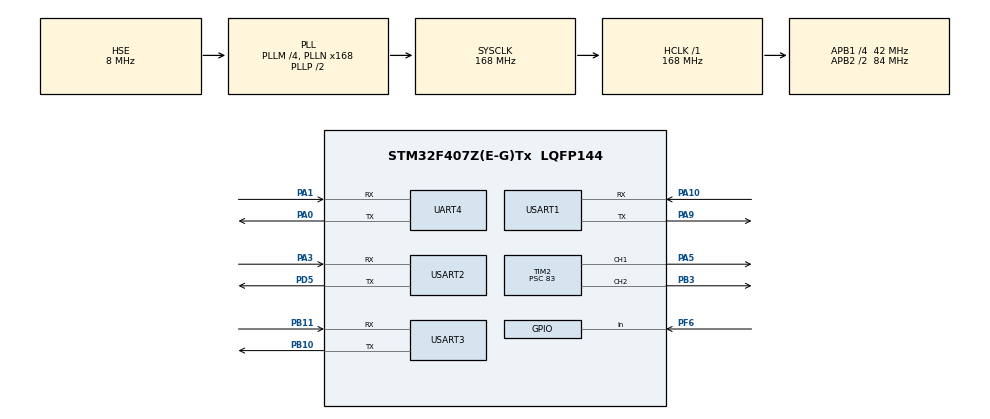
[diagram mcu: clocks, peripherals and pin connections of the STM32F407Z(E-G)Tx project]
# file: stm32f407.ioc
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Dma.Request0=UART4_RX
Dma.UART4_RX.0.Direction=DMA_PERIPH_TO_MEMORY
Dma.UART4_RX.0.FIFOMode=DMA_FIFOMODE_DISABLE
Dma.UART4_RX.0.Instance=DMA1_Stream2
Dma.UART4_RX.0.MemDataAlignment=DMA_MDATAALIGN_BYTE
Dma.UART4_RX.0.MemInc=DMA_MINC_ENABLE
Dma.UART4_RX.0.Mode=DMA_NORMAL
Dma.UART4_RX.0.PeriphDataAlignment=DMA_PDATAALIGN_BYTE
Dma.UART4_RX.0.PeriphInc=DMA_PINC_DISABLE
Dma.UART4_RX.0.Priority=DMA_PRIORITY_LOW
Mcu.Family=STM32F4
Mcu.Name=STM32F407Z(E-G)Tx
Mcu.Package=LQFP144
NVIC.DMA1_Stream2_IRQn=true\:0\:0\:false\:false\:true\:false\:true\:true
NVIC.PriorityGroup=NVIC_PRIORITYGROUP_4
NVIC.TIM6_DAC_IRQn=true\:5\:0\:true\:false\:true\:true\:true\:true
NVIC.UART4_IRQn=true\:0\:0\:false\:false\:true\:true\:true\:true
NVIC.USART1_IRQn=true\:0\:0\:false\:false\:true\:true\:true\:true
NVIC.USART2_IRQn=true\:0\:0\:false\:false\:true\:true\:true\:true
NVIC.USART3_IRQn=true\:0\:0\:false\:false\:true\:true\:true\:true
PA0-WKUP.Mode=Asynchronous
PA0-WKUP.Signal=UART4_TX
PA1.Mode=Asynchronous
PA1.Signal=UART4_RX
PA10.Mode=Asynchronous
PA10.Signal=USART1_RX
PA13.Mode=Serial_Wire
PA13.Signal=SYS_JTMS-SWDIO
PA14.Mode=Serial_Wire
PA14.Signal=SYS_JTCK-SWCLK
PA3.Mode=Asynchronous
PA3.Signal=USART2_RX
PA5.Signal=S_TIM2_CH1_ETR
PA6.Signal=S_TIM3_CH1
PA9.Mode=Asynchronous
PA9.Signal=USART1_TX
PB0.Signal=S_TIM3_CH3
PB10.Mode=Asynchronous
PB10.Signal=USART3_TX
PB11.Mode=Asynchronous
PB11.Signal=USART3_RX
PB3.Signal=S_TIM2_CH2
PC14-OSC32_IN.Signal=RCC_OSC32_IN
PC15-OSC32_OUT.Signal=RCC_OSC32_OUT
PD5.Mode=Asynchronous
PD5.Signal=USART2_TX
PE14.Signal=S_TIM1_CH4
PF6.Signal=GPIO_Input
PH0-OSC_IN.Mode=HSE-External-Oscillator
PH0-OSC_IN.Signal=RCC_OSC_IN
PH1-OSC_OUT.Mode=HSE-External-Oscillator
PH1-OSC_OUT.Signal=RCC_OSC_OUT
ProjectManager.HeapSize=0x200
ProjectManager.StackSize=0x400
ProjectManager.TargetToolchain=MDK-ARM V5.32
RCC.48MHZClocksFreq_Value=84000000
RCC.AHBFreq_Value=168000000
RCC.APB1CLKDivider=RCC_HCLK_DIV4
RCC.APB1Freq_Value=42000000
RCC.APB1TimFreq_Value=84000000
RCC.APB2CLKDivider=RCC_HCLK_DIV2
RCC.APB2Freq_Value=84000000
RCC.APB2TimFreq_Value=168000000
RCC.CortexFreq_Value=168000000
RCC.HCLKFreq_Value=168000000
RCC.HSE_VALUE=8000000
RCC.HSI_VALUE=16000000
RCC.LSE_VALUE=32768
RCC.PLLM=4
RCC.PLLN=168
RCC.PLLSourceVirtual=RCC_PLLSOURCE_HSE
RCC.SYSCLKFreq_VALUE=168000000
RCC.SYSCLKSource=RCC_SYSCLKSOURCE_PLLCLK
RCC.VCOOutputFreq_Value=336000000
SH.S_TIM1_CH4.0=TIM1_CH4
SH.S_TIM2_CH1_ETR.0=TIM2_CH1,PWM Generation1 CH1
SH.S_TIM2_CH2.0=TIM2_CH2,PWM Generation2 CH2
SH.S_TIM3_CH1.0=TIM3_CH1
SH.S_TIM3_CH3.0=TIM3_CH3
TIM2.AutoReloadPreload=TIM_AUTORELOAD_PRELOAD_DISABLE
TIM2.Channel-PWM\ Generation1\ CH1=TIM_CHANNEL_1
TIM2.Channel-PWM\ Generation2\ CH2=TIM_CHANNEL_2
TIM2.Period=19999
TIM2.Prescaler=83
TIM6.Period=1999
TIM6.Prescaler=167
UART4.VirtualMode=Asynchronous
USART1.VirtualMode=VM_ASYNC
USART2.VirtualMode=VM_ASYNC
USART3.VirtualMode=VM_ASYNC
VP_TIM6_VS_ClockSourceINT.Mode=Enable_Timer
board=custom

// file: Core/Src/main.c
/* USER CODE BEGIN Header */
/**
  ******************************************************************************
  * @file           : main.c
  * @brief          : Main program body
  ******************************************************************************
  * @attention
  *
  * Copyright (c) 2025 STMicroelectronics.
  * All rights reserved.
  *
  * This software is licensed under terms that can be found in the LICENSE file
  * in the root directory of this software component.
  * If no LICENSE file comes with this software, it is provided AS-IS.
  *
  ******************************************************************************
  */
/* USER CODE END Header */
#include "main.h"
#include "dma.h"
#include "tim.h"
#include "usart.h"
#include "gpio.h"

/* USER CODE BEGIN Includes */

#include "imu.h"
#include "motor.h"
#include "smp.h"
#include "string.h"
#include "stdio.h"
#include "motor.h"
#include "Control.h"
#include "Res_pi.h"
#include "Servo.h"
#include "IMU.h"
#include "LCD.h"

#include "tjc_usart_hmi.h"

#define FRAME_LENGTH 7

#define WHEEL_DIAMETER_CM 75.0f
#define PULSE_PER_ROUND 3200 // 每圈脉冲数

/* USER CODE END Includes */

/* USER CODE BEGIN PM */

//uint8_t g_oledstring[30];
extern uint8_t g_usart2_receivedata;

extern int g_usart4_receivedata;
/* USER CODE END PM */

void SystemClock_Config(void);

/* USER CODE BEGIN 0 */

volatile uint8_t rx_end_flag;
volatile uint8_t rx_len;
uint8_t rx_buff[200];
volatile uint8_t tx_end_flag=0;
volatile uint8_t tx_len;
uint8_t tx_buff[200];
float Send_Data1[20];

// 在UART4_APP中调用处理函数
void UART4_APP(void)
{
    if(rx_end_flag == 1)
    {
			uint8_t tem;
        // 逐字节解析（假设这1字节是有效数据）
			HAL_UART_Transmit(&huart4,rx_buff,rx_len,200);

        for(uint16_t i=0; i<rx_len; i++)
        {
					tem=rx_buff[i];
            PI_Receive_Data(tem);
					//printf("%c",rx_buff[i]);
            if(RxFlag) break;

        }

						//printf("%c",PI_Data0[1]);

      memset(rx_buff, 0, sizeof(rx_buff));
        rx_len = 0;
        rx_end_flag = 0;
        HAL_UART_Receive_DMA(&huart4, rx_buff, sizeof(rx_buff));
    }
}

//void USART6_APP(void)
//{
//	if(tx_end_flag==1)
//	{
//		//Motor_SpeedMode(5,100,10);
//        HAL_UART_Transmit(&huart6,tx_buff,tx_len,200);
//        printf("\r\n");
//	    memset(tx_buff,0,tx_len);
//	    tx_len=0;
//	    tx_end_flag=0;
//	    HAL_UART_Receive_DMA(&huart6,tx_buff,200);
//	}
//}
/* USER CODE END 0 */

int main(void)
{

  /* MCU Configuration--------------------------------------------------------*/

  /* Reset of all peripherals, Initializes the Flash interface and the Systick. */
  HAL_Init();

  /* Configure the system clock */
  SystemClock_Config();

  /* Initialize all configured peripherals */
  MX_GPIO_Init();
  MX_DMA_Init();
  MX_USART1_UART_Init();
  MX_USART2_UART_Init();
  MX_UART4_Init();
  MX_TIM2_Init();
  MX_USART3_UART_Init();
  MX_TIM6_Init();
  /* USER CODE BEGIN 2 */
	HAL_TIM_Base_Start_IT(&htim6);
	HAL_UART_Receive_IT(&huart2,&g_usart2_receivedata,1);
	HAL_UART_Receive_IT(&huart3, RxBuffer, 1);
	__HAL_UART_ENABLE_IT(&huart4,UART_IT_IDLE);
	HAL_UART_Receive_DMA(&huart4,rx_buff,14);

	IMU_Init();
	Motor_Init();
	LCD_Init();
  Servo_Init();

  /* USER CODE END 2 */

  /* Infinite loop */
  /* USER CODE BEGIN WHILE */
  while (1)
  {
			//printf("%d\r\n",g_usart4_receivedata);
		PI_Receive_Proc();
		//HAL_UART_Transmit(&huart4,(uint8_t*)"01",2,0xffff);
		Control_Proc();
			//printf("%d 111",PI_Data0);
    /* USER CODE END WHILE */

  }
}

void SystemClock_Config(void)
{
  RCC_OscInitTypeDef RCC_OscInitStruct = {0};
  RCC_ClkInitTypeDef RCC_ClkInitStruct = {0};

  /** Configure the main internal regulator output voltage
  */
  __HAL_RCC_PWR_CLK_ENABLE();
  __HAL_PWR_VOLTAGESCALING_CONFIG(PWR_REGULATOR_VOLTAGE_SCALE1);

  /** Initializes the RCC Oscillators according to the specified parameters
  * in the RCC_OscInitTypeDef structure.
  */
  RCC_OscInitStruct.OscillatorType = RCC_OSCILLATORTYPE_HSE;
  RCC_OscInitStruct.HSEState = RCC_HSE_ON;
  RCC_OscInitStruct.PLL.PLLState = RCC_PLL_ON;
  RCC_OscInitStruct.PLL.PLLSource = RCC_PLLSOURCE_HSE;
  RCC_OscInitStruct.PLL.PLLM = 4;
  RCC_OscInitStruct.PLL.PLLN = 168;
  RCC_OscInitStruct.PLL.PLLP = RCC_PLLP_DIV2;
  RCC_OscInitStruct.PLL.PLLQ = 4;
  if (HAL_RCC_OscConfig(&RCC_OscInitStruct) != HAL_OK)
  {
    Error_Handler();
  }

  /** Initializes the CPU, AHB and APB buses clocks
  */
  RCC_ClkInitStruct.ClockType = RCC_CLOCKTYPE_HCLK|RCC_CLOCKTYPE_SYSCLK
                              |RCC_CLOCKTYPE_PCLK1|RCC_CLOCKTYPE_PCLK2;
  RCC_ClkInitStruct.SYSCLKSource = RCC_SYSCLKSOURCE_PLLCLK;
  RCC_ClkInitStruct.AHBCLKDivider = RCC_SYSCLK_DIV1;
  RCC_ClkInitStruct.APB1CLKDivider = RCC_HCLK_DIV4;
  RCC_ClkInitStruct.APB2CLKDivider = RCC_HCLK_DIV2;

  if (HAL_RCC_ClockConfig(&RCC_ClkInitStruct, FLASH_LATENCY_5) != HAL_OK)
  {
    Error_Handler();
  }
}

/* USER CODE BEGIN 4 */

		int fputc(int ch,  FILE *f)
{
    while(HAL_UART_Transmit_IT(&huart4, (unsigned char *)&ch, 1)!=HAL_OK){};
    return ch;
}

int fgetc(FILE *f)
{
	uint8_t ch;
   HAL_UART_Receive(&huart4,&ch,1,0xffff);
	return ch;
}

//void HAL_TIM_PeriodElapsedCallback(TIM_HandleTypeDef *htim) {
//    if (htim->Instance == TIM6) {
//        // 1. 先更新传感器数据（如获取当前yaw角）
//        ReceiveData(g_usart2_receivedata);
//			HAL_UART_Receive_IT(&huart2,&g_usart2_receivedata,1);
//
//        // 2. 执行电机控制逻辑（包含PID计算和速度输出）
//        go(200);
//    }
//}
/* USER CODE END 4 */

void Error_Handler(void)
{
  __disable_irq();
  while (1)
  {
  }
}
